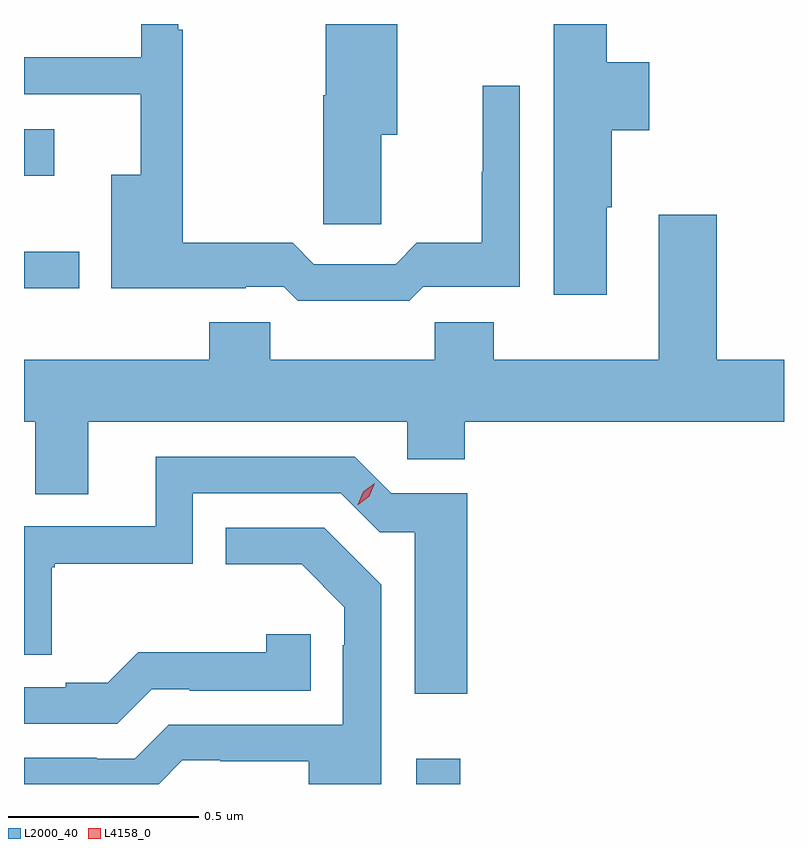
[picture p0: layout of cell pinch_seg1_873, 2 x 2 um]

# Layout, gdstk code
import gdstk
lib = gdstk.Library(unit=1e-6, precision=1e-09)
def R(c, l, rs):  # rectangles x0, y0, x1, y1
    for r in rs: c.add(gdstk.rectangle(r[:2], r[2:], *l))
def P(c, l, *ps):  # polygons
    for p in ps: c.add(gdstk.Polygon(p, *l))
L2000_40 = (2000, 40)
L4158_0 = (4158, 0)

pinch_seg1_873 = lib.new_cell('pinch_seg1_873')
R(pinch_seg1_873, L2000_40, [(473.934,526.803,474.05,526.87), (472.902,528.107,473.047,528.204), (472.902,528.404,472.981,528.526)])
P(pinch_seg1_873, L2000_40, [(473.842,528.512),(473.884,528.512),(473.884,528.803),(473.696,528.803),(473.696,528.616),(473.689,528.616),(473.689,528.276),(473.842,528.276)],
  [(474.436,528.321),(474.449,528.321),(474.449,528.524),(474.547,528.524),(474.547,528.702),(474.436,528.702),(474.436,528.803),(474.296,528.803),(474.296,528.09),(474.436,528.09)],
  [(473.952,528.111),(474.207,528.111),(474.207,528.64),(474.109,528.64),(474.109,528.414),(474.106,528.414),(474.106,528.227),(473.936,528.227),(473.88,528.171),(473.664,528.171),(473.609,528.227),(473.32,528.227),(473.32,528.788),(473.308,528.788),(473.308,528.803),(473.21,528.803),(473.21,528.715),(472.902,528.715),(472.902,528.618),(473.209,528.618),(473.209,528.406),(473.132,528.406),(473.132,528.107),(473.486,528.107),(473.486,528.111),(473.586,528.111),(473.623,528.075),(473.916,528.075)],
  [(473.071,527.756),(473.91,527.756),(473.91,527.658),(474.062,527.658),(474.062,527.756),(474.902,527.756),(474.902,527.92),(474.725,527.92),(474.725,528.301),(474.572,528.301),(474.572,527.92),(474.138,527.92),(474.138,528.018),(473.983,528.018),(473.983,527.92),(473.55,527.92),(473.55,528.018),(473.39,528.018),(473.39,527.92),(472.902,527.92),(472.902,527.756),(472.931,527.756),(472.931,527.566),(473.071,527.566)],
  [(474.068,527.568),(473.868,527.568),(473.772,527.664),(473.249,527.664),(473.249,527.481),(472.902,527.481),(472.902,527.143),(472.975,527.143),(472.975,527.373),(472.983,527.373),(472.983,527.383),(473.346,527.383),(473.346,527.568),(473.736,527.568),(473.838,527.466),(473.93,527.466),(473.93,527.04),(474.068,527.04)],
  [(473.319,526.866),(473.419,526.866),(473.419,526.863),(473.651,526.863),(473.651,526.803),(473.842,526.803),(473.842,527.328),(473.692,527.478),(473.433,527.478),(473.433,527.381),(473.633,527.381),(473.745,527.268),(473.745,527.168),(473.741,527.168),(473.741,526.959),(473.283,526.959),(473.193,526.869),(473.093,526.869),(473.093,526.872),(472.902,526.872),(472.902,526.803),(473.256,526.803)],
  [(473.238,527.052),(473.338,527.052),(473.338,527.049),(473.656,527.049),(473.656,527.197),(473.54,527.197),(473.54,527.15),(473.202,527.15),(473.122,527.07),(473.012,527.07),(473.012,527.058),(472.902,527.058),(472.902,526.962),(473.148,526.962)])
P(pinch_seg1_873, L4158_0, [(473.78,527.538),(473.78,527.538),(473.795,527.572),(473.825,527.595),(473.825,527.595),(473.825,527.594),(473.81,527.56),(473.781,527.538)])

lib.write_gds('pinch_seg1_873.gds')
